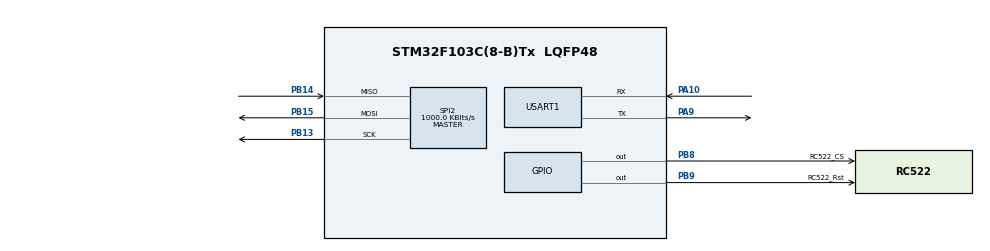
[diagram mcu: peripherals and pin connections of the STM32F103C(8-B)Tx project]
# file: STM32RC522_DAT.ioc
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Mcu.Family=STM32F1
Mcu.Name=STM32F103C(8-B)Tx
Mcu.Package=LQFP48
NVIC.PriorityGroup=NVIC_PRIORITYGROUP_4
NVIC.USART1_IRQn=true\:0\:0\:false\:false\:true\:true\:true\:true
PA10.Mode=Asynchronous
PA10.Signal=USART1_RX
PA9.Mode=Asynchronous
PA9.Signal=USART1_TX
PB13.Mode=Full_Duplex_Master
PB13.Signal=SPI2_SCK
PB14.Mode=Full_Duplex_Master
PB14.Signal=SPI2_MISO
PB15.Mode=Full_Duplex_Master
PB15.Signal=SPI2_MOSI
PB8.GPIO_Label=RC522_CS
PB8.Signal=GPIO_Output
PB9.GPIO_Label=RC522_Rst 
PB9.Signal=GPIO_Output
ProjectManager.HeapSize=0x200
ProjectManager.StackSize=0x400
ProjectManager.TargetToolchain=STM32CubeIDE
RCC.APB1Freq_Value=8000000
RCC.APB2Freq_Value=8000000
SPI2.BaudRatePrescaler=SPI_BAUDRATEPRESCALER_8
SPI2.CalculateBaudRate=1000.0 KBits/s
SPI2.Direction=SPI_DIRECTION_2LINES
SPI2.Mode=SPI_MODE_MASTER
SPI2.VirtualType=VM_MASTER
USART1.VirtualMode=VM_ASYNC
VP_SYS_VS_ND.Mode=No_Debug
board=custom

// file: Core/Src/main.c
/* USER CODE BEGIN Header */
/**
  ******************************************************************************
  * @file           : main.c
  * @brief          : Main program body
  ******************************************************************************
  * @attention
  *
  * Copyright (c) 2022 STMicroelectronics.
  * All rights reserved.
  *
  * This software is licensed under terms that can be found in the LICENSE file
  * in the root directory of this software component.
  * If no LICENSE file comes with this software, it is provided AS-IS.
  *
  ******************************************************************************
  */
/* USER CODE END Header */
#include "main.h"
#include "spi.h"
#include "usart.h"
#include "gpio.h"

/* USER CODE BEGIN Includes */
#include <string.h>
#include "MFRC522.h"
/* USER CODE END Includes */

/* USER CODE BEGIN PM */

uint8_t value = 0;
char str1[17] = {'\0'};
char str2[17] = {'\0'};
char str3[17] = {'\0'};
char str4[17] = {'\0'};
char tmp_str[65] = {'\0'};
/* USER CODE END PM */

void SystemClock_Config(void);

int main(void)
{

  /* MCU Configuration--------------------------------------------------------*/

  /* Reset of all peripherals, Initializes the Flash interface and the Systick. */
  HAL_Init();

  /* Configure the system clock */
  SystemClock_Config();

  /* Initialize all configured peripherals */
  MX_GPIO_Init();
  MX_SPI2_Init();
  MX_USART1_UART_Init();
  /* USER CODE BEGIN 2 */
  for (int i = 0; i < 16; i++)
  {
    tmp_str[i] = 'A';
  }
  for (int i = 16; i < 32; i++)
  {
    tmp_str[i] = 'B';
  }
  for (int i = 32; i < 48; i++)
  {
    tmp_str[i] = 'C';
  }
  for (int i = 48; i < 64; i++)
  {
    tmp_str[i] = 'D';
  }
  HAL_GPIO_WritePin(RC522_Rst_GPIO_Port, RC522_Rst_Pin, GPIO_PIN_SET);
  HAL_Delay(100);
  MFRC522_Init();
  HAL_Delay(1000);
  u_char status, cardstr[MAX_LEN + 1];
  u_char card_data[17];
  uint32_t delay_val = 1000; // ms
  uint16_t result = 0;
  u_char UID[5];
  // a private key to scramble data writing/reading to/from RFID card:
  u_char Mx1[7][5] = {{0x12, 0x45, 0xF2, 0xA8}, {0xB2, 0x6C, 0x39, 0x83}, {0x55, 0xE5, 0xDA, 0x18}, {0x1F, 0x09, 0xCA, 0x75}, {0x99, 0xA2, 0x50, 0xEC}, {0x2C, 0x88, 0x7F, 0x3D}};
  u_char SectorKey[7];
  status = Read_MFRC522(VersionReg);
  sprintf(str1,"Running RC522");
  sprintf(str2,"ver:%x", status);
  HAL_Delay(1000);
  /* USER CODE END 2 */

  /* Infinite loop */
  while (1)
  {

    /* USER CODE BEGIN 3 */
    for (int i = 0; i < 16; i++)
    {
      cardstr[i] = 0;
    }
    status = 0;
    // Find cards
    status = MFRC522_Request(PICC_REQIDL, cardstr);
    if (status == MI_OK)
    {

      result = 0;
      result++;
      sprintf(str1, "Card:%x,%x,%x", cardstr[0], cardstr[1], cardstr[2]);
      //
      // Anti-collision, return card serial number == 4 bytes
      HAL_Delay(1);
      status = MFRC522_Anticoll(cardstr);
      if (status == MI_OK)
      {
        result++;
        sprintf(str2, "UID:%x %x %x %x", cardstr[0], cardstr[1], cardstr[2], cardstr[3]);
        UID[0] = cardstr[0];
        UID[1] = cardstr[1];
        UID[2] = cardstr[2];
        UID[3] = cardstr[3];
        UID[4] = cardstr[4];
        //
        HAL_Delay(1);
        status = MFRC522_SelectTag(cardstr);
        if (status > 0)
        {
          result++;
          //
          SectorKey[0] = ((Mx1[0][0]) ^ (UID[0])) + ((Mx1[0][1]) ^ (UID[1])) + ((Mx1[0][2]) ^ (UID[2])) + ((Mx1[0][3]) ^ (UID[3])); // 0x11; //KeyA[0]
          SectorKey[1] = ((Mx1[1][0]) ^ (UID[0])) + ((Mx1[1][1]) ^ (UID[1])) + ((Mx1[1][2]) ^ (UID[2])) + ((Mx1[1][3]) ^ (UID[3])); // 0x11; //KeyA[0]
          SectorKey[2] = ((Mx1[2][0]) ^ (UID[0])) + ((Mx1[2][1]) ^ (UID[1])) + ((Mx1[2][2]) ^ (UID[2])) + ((Mx1[2][3]) ^ (UID[3])); // 0x11; //KeyA[0]
          SectorKey[3] = ((Mx1[3][0]) ^ (UID[0])) + ((Mx1[3][1]) ^ (UID[1])) + ((Mx1[3][2]) ^ (UID[2])) + ((Mx1[3][3]) ^ (UID[3])); // 0x11; //KeyA[0]
          SectorKey[4] = ((Mx1[4][0]) ^ (UID[0])) + ((Mx1[4][1]) ^ (UID[1])) + ((Mx1[4][2]) ^ (UID[2])) + ((Mx1[4][3]) ^ (UID[3])); // 0x11; //KeyA[0]
          SectorKey[5] = ((Mx1[5][0]) ^ (UID[0])) + ((Mx1[5][1]) ^ (UID[1])) + ((Mx1[5][2]) ^ (UID[2])) + ((Mx1[5][3]) ^ (UID[3])); // 0x11; //KeyA[0]
          HAL_Delay(1);
          status = MFRC522_Auth(0x60, 3, SectorKey, cardstr);
          if (status == MI_OK)
          {
            result++;
            sprintf(str3, "Auth. OK");
            if (1)
            {
              // Clean-Up the Card:
              card_data[0] = 0xFF;
              card_data[1] = 0xFF;
              card_data[2] = 0xFF;
              card_data[3] = 0xFF;
              card_data[4] = 0xFF;
              card_data[5] = 0xFF;
              card_data[6] = 0xFF;  // Access_bits[6]
              card_data[7] = 0x07;  // Access_bits[7]
              card_data[8] = 0x80;  // Access_bits[8]
              card_data[9] = 0x88;  // user_byte[9]
              card_data[10] = 0x88; // user_byte[10]
              card_data[11] = 0x88; // user_byte[11]
              card_data[12] = 0x88; // user_byte[12]
              card_data[13] = 0x88; // user_byte[13]
              card_data[14] = 0x88; // user_byte[14]
              card_data[15] = 0x88; // user_byte[15]
              HAL_Delay(1);
              status = MFRC522_Write(3, card_data);
              if (status == MI_OK)
              {
                result++;
                sprintf(str3, "                ");
                sprintf(str4, "Card Cleared!");
                delay_val = 2000;
              }
            }
          }
          else
          {
            for (int i = 0; i < 16; i++)
            {
              cardstr[i] = 0;
            }
            status = 0;
            // Find cards
            HAL_Delay(1);
            status = MFRC522_Request(PICC_REQIDL, cardstr);
            HAL_Delay(1);
            status = MFRC522_Anticoll(cardstr);
            HAL_Delay(1);
            status = MFRC522_SelectTag(cardstr);
            SectorKey[0] = 0xFF;
            SectorKey[1] = 0xFF;
            SectorKey[2] = 0xFF;
            SectorKey[3] = 0xFF;
            SectorKey[4] = 0xFF;
            SectorKey[5] = 0xFF;
            HAL_Delay(1);
            status = MFRC522_Auth(0x60, 3, SectorKey, cardstr);
            if (status == MI_OK)
            {
              if (1)
              {
                card_data[0] = ((Mx1[0][0]) ^ (UID[0])) + ((Mx1[0][1]) ^ (UID[1])) + ((Mx1[0][2]) ^ (UID[2])) + ((Mx1[0][3]) ^ (UID[3])); // 0x11; //KeyA[0]
                card_data[1] = ((Mx1[1][0]) ^ (UID[0])) + ((Mx1[1][1]) ^ (UID[1])) + ((Mx1[1][2]) ^ (UID[2])) + ((Mx1[1][3]) ^ (UID[3])); // 0x11; //KeyA[0]
                card_data[2] = ((Mx1[2][0]) ^ (UID[0])) + ((Mx1[2][1]) ^ (UID[1])) + ((Mx1[2][2]) ^ (UID[2])) + ((Mx1[2][3]) ^ (UID[3])); // 0x11; //KeyA[0]
                card_data[3] = ((Mx1[3][0]) ^ (UID[0])) + ((Mx1[3][1]) ^ (UID[1])) + ((Mx1[3][2]) ^ (UID[2])) + ((Mx1[3][3]) ^ (UID[3])); // 0x11; //KeyA[0]
                card_data[4] = ((Mx1[4][0]) ^ (UID[0])) + ((Mx1[4][1]) ^ (UID[1])) + ((Mx1[4][2]) ^ (UID[2])) + ((Mx1[4][3]) ^ (UID[3])); // 0x11; //KeyA[0]
                card_data[5] = ((Mx1[5][0]) ^ (UID[0])) + ((Mx1[5][1]) ^ (UID[1])) + ((Mx1[5][2]) ^ (UID[2])) + ((Mx1[5][3]) ^ (UID[3])); // 0x11; //KeyA[0]
                card_data[6] = 0xFF;                                                                                                      // Access_bits[6]
                card_data[7] = 0x07;                                                                                                      // Access_bits[7]
                card_data[8] = 0x80;                                                                                                      // Access_bits[8]
                card_data[9] = 0x88;                                                                                                      // user_byte[9]
                card_data[10] = 0x88;                                                                                                     // user_byte[10]
                card_data[11] = 0x88;                                                                                                     // user_byte[11]
                card_data[12] = 0x88;                                                                                                     // user_byte[12]
                card_data[13] = 0x88;                                                                                                     // user_byte[13]
                card_data[14] = 0x88;                                                                                                     // user_byte[14]
                card_data[15] = 0x88;                                                                                                     // user_byte[15]
                HAL_Delay(1);
                status = MFRC522_Write(3, card_data);
                if (status == MI_OK)
                {
                  result++;
                  sprintf(str3, "Card Set!");
                  delay_val = 2000;
                }
              }
              else
              {

                sprintf(str4, "New Card!");
              }
            }
            else if (status != MI_OK)
            {
              sprintf(str3, "Auth. Error");
            }
          }
          HAL_Delay(1);
          MFRC522_StopCrypto1();
        }
      }
      HAL_Delay(1);
      MFRC522_Halt();

      HAL_Delay(delay_val);
      delay_val = 1000;
      sprintf(str1, "                ");
      sprintf(str2, "                ");
      sprintf(str3, "                ");
      sprintf(str4, "                ");
    }
    else
    {
      sprintf(str1, "Waiting for Card");

      sprintf(str2, "                ");

      sprintf(str3, "                ");

      sprintf(str4, "                ");
    }
  }
  /* USER CODE END 3 */
}

void SystemClock_Config(void)
{
  RCC_OscInitTypeDef RCC_OscInitStruct = {0};
  RCC_ClkInitTypeDef RCC_ClkInitStruct = {0};

  /** Initializes the RCC Oscillators according to the specified parameters
  * in the RCC_OscInitTypeDef structure.
  */
  RCC_OscInitStruct.OscillatorType = RCC_OSCILLATORTYPE_HSI;
  RCC_OscInitStruct.HSIState = RCC_HSI_ON;
  RCC_OscInitStruct.HSICalibrationValue = RCC_HSICALIBRATION_DEFAULT;
  RCC_OscInitStruct.PLL.PLLState = RCC_PLL_NONE;
  if (HAL_RCC_OscConfig(&RCC_OscInitStruct) != HAL_OK)
  {
    Error_Handler();
  }

  /** Initializes the CPU, AHB and APB buses clocks
  */
  RCC_ClkInitStruct.ClockType = RCC_CLOCKTYPE_HCLK|RCC_CLOCKTYPE_SYSCLK
                              |RCC_CLOCKTYPE_PCLK1|RCC_CLOCKTYPE_PCLK2;
  RCC_ClkInitStruct.SYSCLKSource = RCC_SYSCLKSOURCE_HSI;
  RCC_ClkInitStruct.AHBCLKDivider = RCC_SYSCLK_DIV1;
  RCC_ClkInitStruct.APB1CLKDivider = RCC_HCLK_DIV1;
  RCC_ClkInitStruct.APB2CLKDivider = RCC_HCLK_DIV1;

  if (HAL_RCC_ClockConfig(&RCC_ClkInitStruct, FLASH_LATENCY_0) != HAL_OK)
  {
    Error_Handler();
  }
}

void Error_Handler(void)
{
  __disable_irq();
  while (1)
  {
  }
}
